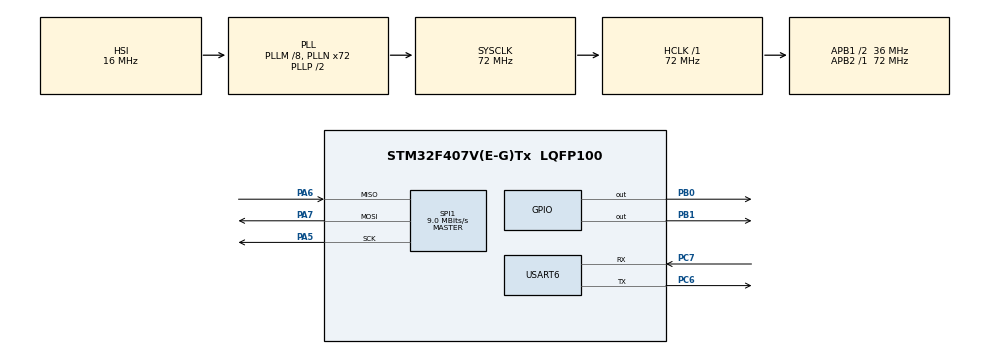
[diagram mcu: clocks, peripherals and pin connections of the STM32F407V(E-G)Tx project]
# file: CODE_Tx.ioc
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Mcu.Family=STM32F4
Mcu.Name=STM32F407V(E-G)Tx
Mcu.Package=LQFP100
NVIC.PriorityGroup=NVIC_PRIORITYGROUP_4
PA13.Mode=Serial_Wire
PA13.Signal=SYS_JTMS-SWDIO
PA14.Mode=Serial_Wire
PA14.Signal=SYS_JTCK-SWCLK
PA5.Mode=Full_Duplex_Master
PA5.Signal=SPI1_SCK
PA6.Mode=Full_Duplex_Master
PA6.Signal=SPI1_MISO
PA7.Mode=Full_Duplex_Master
PA7.Signal=SPI1_MOSI
PB0.Signal=GPIO_Output
PB1.Signal=GPIO_Output
PC6.Mode=Asynchronous
PC6.Signal=USART6_TX
PC7.Mode=Asynchronous
PC7.Signal=USART6_RX
PH0-OSC_IN.Mode=HSE-External-Oscillator
PH0-OSC_IN.Signal=RCC_OSC_IN
PH1-OSC_OUT.Mode=HSE-External-Oscillator
PH1-OSC_OUT.Signal=RCC_OSC_OUT
ProjectManager.HeapSize=0x200
ProjectManager.StackSize=0x400
ProjectManager.TargetToolchain=STM32CubeIDE
RCC.48MHZClocksFreq_Value=36000000
RCC.AHBFreq_Value=72000000
RCC.APB1CLKDivider=RCC_HCLK_DIV2
RCC.APB1Freq_Value=36000000
RCC.APB1TimFreq_Value=72000000
RCC.APB2Freq_Value=72000000
RCC.APB2TimFreq_Value=72000000
RCC.CortexFreq_Value=72000000
RCC.HCLKFreq_Value=72000000
RCC.HSE_VALUE=25000000
RCC.HSI_VALUE=16000000
RCC.LSE_VALUE=32768
RCC.PLLM=8
RCC.PLLN=72
RCC.SYSCLKFreq_VALUE=72000000
RCC.SYSCLKSource=RCC_SYSCLKSOURCE_PLLCLK
RCC.VCOOutputFreq_Value=144000000
SPI1.BaudRatePrescaler=SPI_BAUDRATEPRESCALER_8
SPI1.CalculateBaudRate=9.0 MBits/s
SPI1.Direction=SPI_DIRECTION_2LINES
SPI1.Mode=SPI_MODE_MASTER
SPI1.VirtualType=VM_MASTER
USART6.VirtualMode=VM_ASYNC
board=custom

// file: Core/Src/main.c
/* USER CODE BEGIN Header */
/**
 ******************************************************************************
 * @file           : main.c
 * @brief          : Main program body
 ******************************************************************************
 * @attention
 *
 * Copyright (c) 2023 STMicroelectronics.
 * All rights reserved.
 *
 * This software is licensed under terms that can be found in the LICENSE file
 * in the root directory of this software component.
 * If no LICENSE file comes with this software, it is provided AS-IS.
 *
 ******************************************************************************
 */
/* USER CODE END Header */
#include "main.h"

/* USER CODE BEGIN Includes */
#include "MY_NRF24.h"
#include <stdio.h>
/* USER CODE END Includes */

/* USER CODE BEGIN PD */
#define nrf_CSN_PORT		GPIOB
#define nrf_CSN_PIN			GPIO_PIN_0

#define nrf_CE_PORT			GPIOB
#define nrf_CE_PIN			GPIO_PIN_1
/* USER CODE END PD */

SPI_HandleTypeDef hspi1;

UART_HandleTypeDef huart6;

/* USER CODE BEGIN PV */
uint64_t TxpipeAddrs = 0xAABBCCDDEE;
uint64_t RxpipeAddrs = 0x1122334455;
char TxData[32] = "Hello World!";
char RxData[32] = "";
char AckPayload[32];
uint8_t value;

char myTxData[32] = "Hello World!";
char AckPayload[32];
/* USER CODE END PV */

void SystemClock_Config(void);
static void MX_GPIO_Init(void);
static void MX_SPI1_Init(void);
static void MX_USART6_UART_Init(void);

int main(void) {

	/* MCU Configuration--------------------------------------------------------*/

	/* Reset of all peripherals, Initializes the Flash interface and the Systick. */
	HAL_Init();

	/* Configure the system clock */
	SystemClock_Config();

	/* Initialize all configured peripherals */
	MX_GPIO_Init();
	MX_SPI1_Init();
	MX_USART6_UART_Init();
	/* USER CODE BEGIN 2 */
	char a[80] = "----------------Tx---------------------\r\n";
	HAL_UART_Transmit(&huart6, (uint8_t*) a, strlen(a), 10);
	NRF24_begin(GPIOB, nrf_CSN_PIN, nrf_CE_PIN, hspi1);
	nrf24_DebugUART_Init(huart6);
	printRadioSettings();

	//**** TRANSMIT - ACK ****//
		NRF24_stopListening();
		NRF24_openWritingPipe(TxpipeAddrs);
		NRF24_setAutoAck(true);

		NRF24_enableDynamicPayloads();
		NRF24_enableAckPayload();
		/* USER CODE END 2 */

		/* Infinite loop */
		/* USER CODE BEGIN WHILE */
		while (1) {

			//Send
			value = HAL_GetTick();
			sprintf(myTxData, "%d", value);
			if (NRF24_write(myTxData, 32)) {
				//Receive
				NRF24_read(AckPayload, 32);

				HAL_UART_Transmit(&huart6, (uint8_t*) "Send: ",strlen("Send: "), 10);
				HAL_UART_Transmit(&huart6, (uint8_t*) myTxData,strlen(myTxData), 10);

				HAL_UART_Transmit(&huart6, (uint8_t*) "		", strlen("		"),10);

				HAL_UART_Transmit(&huart6, (uint8_t*) "Receive: ",strlen("Receive: "), 10);
				HAL_UART_Transmit(&huart6, (uint8_t*) AckPayload,strlen(AckPayload), 10);

				HAL_UART_Transmit(&huart6, (uint8_t*) "\r\n", strlen("\r\n"),10);
			}
			HAL_Delay(10);

			/* USER CODE END WHILE */

	}
}

void SystemClock_Config(void) {
	RCC_OscInitTypeDef RCC_OscInitStruct = { 0 };
	RCC_ClkInitTypeDef RCC_ClkInitStruct = { 0 };

	/** Configure the main internal regulator output voltage
	 */
	__HAL_RCC_PWR_CLK_ENABLE();
	__HAL_PWR_VOLTAGESCALING_CONFIG(PWR_REGULATOR_VOLTAGE_SCALE1);

	/** Initializes the RCC Oscillators according to the specified parameters
	 * in the RCC_OscInitTypeDef structure.
	 */
	RCC_OscInitStruct.OscillatorType = RCC_OSCILLATORTYPE_HSI;
	RCC_OscInitStruct.HSIState = RCC_HSI_ON;
	RCC_OscInitStruct.HSICalibrationValue = RCC_HSICALIBRATION_DEFAULT;
	RCC_OscInitStruct.PLL.PLLState = RCC_PLL_ON;
	RCC_OscInitStruct.PLL.PLLSource = RCC_PLLSOURCE_HSI;
	RCC_OscInitStruct.PLL.PLLM = 8;
	RCC_OscInitStruct.PLL.PLLN = 72;
	RCC_OscInitStruct.PLL.PLLP = RCC_PLLP_DIV2;
	RCC_OscInitStruct.PLL.PLLQ = 4;
	if (HAL_RCC_OscConfig(&RCC_OscInitStruct) != HAL_OK) {
		Error_Handler();
	}

	/** Initializes the CPU, AHB and APB buses clocks
	 */
	RCC_ClkInitStruct.ClockType = RCC_CLOCKTYPE_HCLK | RCC_CLOCKTYPE_SYSCLK
			| RCC_CLOCKTYPE_PCLK1 | RCC_CLOCKTYPE_PCLK2;
	RCC_ClkInitStruct.SYSCLKSource = RCC_SYSCLKSOURCE_PLLCLK;
	RCC_ClkInitStruct.AHBCLKDivider = RCC_SYSCLK_DIV1;
	RCC_ClkInitStruct.APB1CLKDivider = RCC_HCLK_DIV2;
	RCC_ClkInitStruct.APB2CLKDivider = RCC_HCLK_DIV1;

	if (HAL_RCC_ClockConfig(&RCC_ClkInitStruct, FLASH_LATENCY_2) != HAL_OK) {
		Error_Handler();
	}
}

static void MX_SPI1_Init(void) {

	/* SPI1 parameter configuration*/
	hspi1.Instance = SPI1;
	hspi1.Init.Mode = SPI_MODE_MASTER;
	hspi1.Init.Direction = SPI_DIRECTION_2LINES;
	hspi1.Init.DataSize = SPI_DATASIZE_8BIT;
	hspi1.Init.CLKPolarity = SPI_POLARITY_LOW;
	hspi1.Init.CLKPhase = SPI_PHASE_1EDGE;
	hspi1.Init.NSS = SPI_NSS_SOFT;
	hspi1.Init.BaudRatePrescaler = SPI_BAUDRATEPRESCALER_8;
	hspi1.Init.FirstBit = SPI_FIRSTBIT_MSB;
	hspi1.Init.TIMode = SPI_TIMODE_DISABLE;
	hspi1.Init.CRCCalculation = SPI_CRCCALCULATION_DISABLE;
	hspi1.Init.CRCPolynomial = 10;
	if (HAL_SPI_Init(&hspi1) != HAL_OK) {
		Error_Handler();
	}

}

static void MX_USART6_UART_Init(void) {

	huart6.Instance = USART6;
	huart6.Init.BaudRate = 115200;
	huart6.Init.WordLength = UART_WORDLENGTH_8B;
	huart6.Init.StopBits = UART_STOPBITS_1;
	huart6.Init.Parity = UART_PARITY_NONE;
	huart6.Init.Mode = UART_MODE_TX_RX;
	huart6.Init.HwFlowCtl = UART_HWCONTROL_NONE;
	huart6.Init.OverSampling = UART_OVERSAMPLING_16;
	if (HAL_UART_Init(&huart6) != HAL_OK) {
		Error_Handler();
	}

}

static void MX_GPIO_Init(void) {
	GPIO_InitTypeDef GPIO_InitStruct = { 0 };

	/* GPIO Ports Clock Enable */
	__HAL_RCC_GPIOH_CLK_ENABLE();
	__HAL_RCC_GPIOA_CLK_ENABLE();
	__HAL_RCC_GPIOB_CLK_ENABLE();
	__HAL_RCC_GPIOC_CLK_ENABLE();

	/*Configure GPIO pin Output Level */
	HAL_GPIO_WritePin(GPIOB, GPIO_PIN_0 | GPIO_PIN_1, GPIO_PIN_RESET);

	/*Configure GPIO pins : PB0 PB1 */
	GPIO_InitStruct.Pin = GPIO_PIN_0 | GPIO_PIN_1;
	GPIO_InitStruct.Mode = GPIO_MODE_OUTPUT_PP;
	GPIO_InitStruct.Pull = GPIO_NOPULL;
	GPIO_InitStruct.Speed = GPIO_SPEED_FREQ_LOW;
	HAL_GPIO_Init(GPIOB, &GPIO_InitStruct);

}

void Error_Handler(void) {
	__disable_irq();
	while (1) {
	}
}
